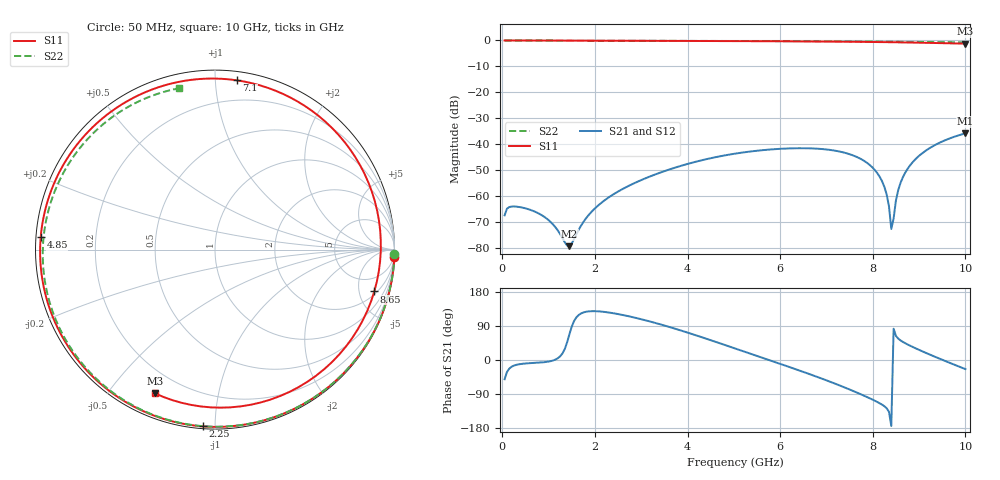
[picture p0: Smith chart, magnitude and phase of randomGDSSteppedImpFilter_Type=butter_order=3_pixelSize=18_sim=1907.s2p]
! freq	dB(S11)	phase(S11)	dB(S12)	phase(S12)
!  dB(S21)	phase(S21)	dB(S22)	phase(S22)
!S-par simulation data
#  GHz  S  DB  R 50
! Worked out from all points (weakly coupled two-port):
!   200 points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, 50 MHz to 10 GHz, reference 50 ohm
!   highest |S21| = -35.82 dB at 10 GHz (marker M1); lowest = -79.3 dB at 1.45 GHz (marker M2)
!   lowest |S11| = -1.2 dB at 10 GHz (marker M3), VSWR 14.15, Z = 5.08 - j33 ohm
!   |S11| at or under -10 dB: nowhere
!   |S22| runs from -0.7 to 0.0 dB; largest |S21 - S12| = 0
!   S11 on the Smith chart (normalised r, x): 50 MHz: 0, -51; 2.25 GHz: 0.01, -0.93; 4.85 GHz: 0.01, +0.04; 7.1 GHz: 0.06, +1.13; 8.65 GHz: 2.36, -6.96; 10 GHz: 0.10, -0.66
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0.05  -0.00 -2.2  -67.41 -50.7  -67.41 -50.7  -0.00 -1.4
0.2  -0.00 -9.0  -64.04 -17.9  -64.04 -17.9  -0.00 -5.7
0.75  -0.04 -33.2  -66.38 -7.3  -66.38 -7.3  -0.02 -21.1
1.45  -0.08 -62.7  -79.32 68.2  -79.32 68.2  -0.05 -40.3
1.75  -0.09 -74.7  -70.03 125.4  -70.03 125.4  -0.06 -48.4
2.25  -0.11 -94.0  -61.10 126.2  -61.10 126.2  -0.08 -61.5
3.4  -0.16 -135.0  -51.02 94.5  -51.02 94.5  -0.12 -90.3
4.85  -0.23 175.8  -44.17 37.8  -44.17 37.8  -0.18 -124.2
5.05  -0.25 168.8  -43.58 29.5  -43.58 29.5  -0.19 -128.7
5.85  -0.31 139.1  -41.96 -3.9  -41.96 -3.9  -0.24 -146.8
6.7  -0.39 102.5  -41.63 -40.1  -41.63 -40.1  -0.31 -166.2
7.1  -0.44 82.7  -42.26 -58.3  -42.26 -58.3  -0.34 -175.6
7.55  -0.50 57.8  -44.16 -80.4  -44.16 -80.4  -0.39 173.5
8  -0.58 30.0  -49.10 -104.8  -49.10 -104.8  -0.43 162.2
8.2  -0.63 16.8  -54.27 -117.8  -54.27 -117.8  -0.46 157.0
8.35  -0.66 6.5  -63.95 -136.8  -63.95 -136.8  -0.48 153.0
8.4  -0.68 3.0  -72.69 -174.2  -72.69 -174.2  -0.48 151.7
8.55  -0.72 -7.6  -57.67 56.4  -57.67 56.4  -0.50 147.6
8.65  -0.75 -14.7  -52.75 47.7  -52.75 47.7  -0.51 144.8
8.95  -0.84 -36.6  -45.30 29.4  -45.30 29.4  -0.55 136.2
9.35  -0.98 -66.1  -40.26 8.2  -40.26 8.2  -0.61 124.1
10  -1.23 -112.8  -35.82 -24.0  -35.82 -24.0  -0.72 102.7
